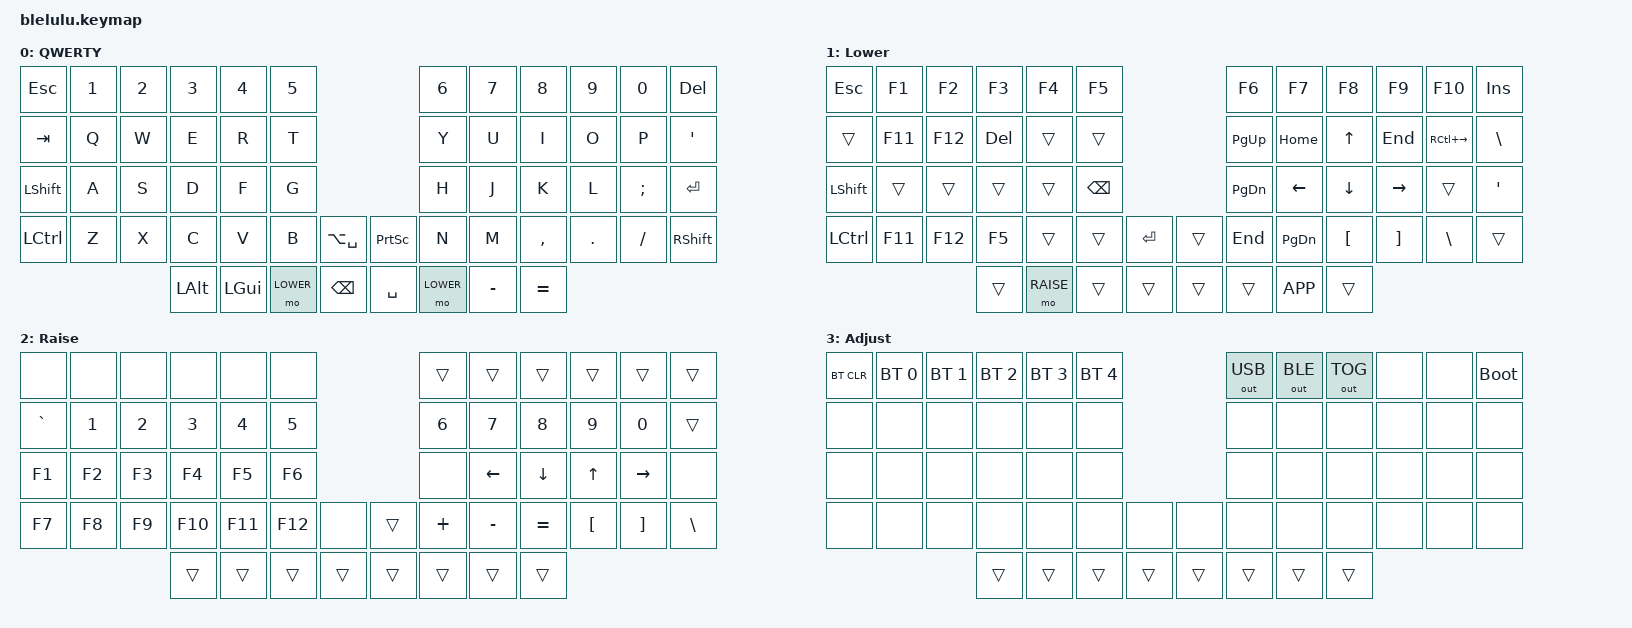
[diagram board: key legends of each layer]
/*
 * ZMK keymap for the Boardsource Wireless Lily58 SMT ("blelulu").
 * Converted from the QMK keymap.c (QWERTY / LOWER / RAISE / ADJUST).
 *
 * Replace config/blelulu.keymap in the firmware repo with this file.
 */

#include <behaviors.dtsi>
#include <dt-bindings/zmk/keys.h>
#include <dt-bindings/zmk/bt.h>
#include <dt-bindings/zmk/outputs.h>

/* Layer numbers. Order here must match the order of the layer nodes below. */
#define BASE   0
#define LOWER  1
#define RAISE  2
#define ADJUST 3

/ {
    /* QMK update_tri_layer_state(LOWER, RAISE, ADJUST) */
    conditional_layers {
        compatible = "zmk,conditional-layers";
        tri_layer {
            if-layers = <LOWER RAISE>;
            then-layer = <ADJUST>;
        };
    };


    keymap {
        compatible = "zmk,keymap";

/* QWERTY
 * ,-----------------------------------------.                    ,-----------------------------------------.
 * | ESC  |   1  |   2  |   3  |   4  |   5  |                    |   6  |   7  |   8  |   9  |   0  |  DEL |
 * |------+------+------+------+------+------|                    |------+------+------+------+------+------|
 * | Tab  |   Q  |   W  |   E  |   R  |   T  |                    |   Y  |   U  |   I  |   O  |   P  |  "   |
 * |------+------+------+------+------+------|                    |------+------+------+------+------+------|
 * |LShift|   A  |   S  |   D  |   F  |   G  |-------.    ,-------|   H  |   J  |   K  |   L  |   ;  |Enter |
 * |------+------+------+------+------+------|Launchy|    | prnsc |------+------+------+------+------+------|
 * |LCtrl |   Z  |   X  |   C  |   V  |   B  |-------|    |-------|   N  |   M  |   ,  |   .  |   /  | RSFT |
 * `-----------------------------------------/       /     \      \-----------------------------------------'
 *                   | LAlt | Win  |Lower | /  BkSpc  /       \Space \  |Lower | -_   | +=   |
 *                   `----------------------------'           '------''--------------------'
 */
        base_layer {
            display-name = "QWERTY";
            bindings = <
&kp ESC   &kp N1 &kp N2 &kp N3   &kp N4   &kp N5                              &kp N6 &kp N7    &kp N8    &kp N9  &kp N0    &kp DEL
&kp TAB   &kp Q  &kp W  &kp E    &kp R    &kp T                               &kp Y  &kp U     &kp I     &kp O   &kp P     &kp SQT
&kp LSHFT &kp A  &kp S  &kp D    &kp F    &kp G                               &kp H  &kp J     &kp K     &kp L   &kp SEMI  &kp RET
&kp LCTRL &kp Z  &kp X  &kp C    &kp V    &kp B     &kp LA(SPACE)  &kp PSCRN  &kp N  &kp M     &kp COMMA &kp DOT &kp FSLH  &kp RSHFT
                        &kp LALT &kp LGUI &mo LOWER &kp BSPC       &kp SPACE  &mo LOWER &kp MINUS &kp EQUAL
            >;
        };

/* LOWER
 * ,-----------------------------------------.                    ,-----------------------------------------.
 * | ESC  |  F1  |  F2  |  F3  |  F4  |  F5  |                    |  F6  |  F7  |  F8  |  F9  | F10  | Ins  |
 * |------+------+------+------+------+------|                    |------+------+------+------+------+------|
 * |      | F11  | F12  | DEL  |      |      |                    | PgUp | Home |  Up  | End  |Ctl+Rt|  \   |
 * |------+------+------+------+------+------|                    |------+------+------+------+------+------|
 * |LShift|      |      |      |      | BkSp |-------.    ,-------| PgDn | Left | Down |Right |      |  '   |
 * |------+------+------+------+------+------| Enter |    |       |------+------+------+------+------+------|
 * |LCtrl | F11  | F12  |  F5  |      |      |-------|    |-------| End  | PgDn |  [   |  ]   |  \   |      |
 * `-----------------------------------------/       /     \      \-----------------------------------------'
 *                   |      |Raise |      | /       /       \      \  |      | Menu |      |
 *                   `----------------------------'           '------''--------------------'
 */
        lower_layer {
            display-name = "Lower";
            bindings = <
&kp ESC   &kp F1       &kp F2  &kp F3  &kp F4 &kp F5                        &kp F6    &kp F7    &kp F8   &kp F9    &kp F10       &kp INS
&trans    &kp F11      &kp F12 &kp DEL &trans &trans                        &kp PG_UP &kp HOME  &kp UP   &kp END   &kp RC(RIGHT) &kp BSLH
&kp LSHFT &trans       &trans  &trans  &trans &kp BSPC                      &kp PG_DN &kp LEFT  &kp DOWN &kp RIGHT &trans        &kp SQT
&kp LCTRL &kp F11      &kp F12 &kp F5  &trans &trans    &kp RET   &trans    &kp END   &kp PG_DN &kp LBKT &kp RBKT  &kp BSLH      &trans
                               &trans  &mo RAISE        &trans    &trans    &trans    &trans    &kp K_APP &trans
            >;
        };

/* RAISE
 * ,-----------------------------------------.                    ,-----------------------------------------.
 * |      |      |      |      |      |      |                    |      |      |      |      |      |      |
 * |------+------+------+------+------+------|                    |------+------+------+------+------+------|
 * |   `  |   1  |   2  |   3  |   4  |   5  |                    |   6  |   7  |   8  |   9  |   0  |      |
 * |------+------+------+------+------+------|                    |------+------+------+------+------+------|
 * |  F1  |  F2  |  F3  |  F4  |  F5  |  F6  |-------.    ,-------|      | Left | Down |  Up  |Right |      |
 * |------+------+------+------+------+------|       |    |       |------+------+------+------+------+------|
 * |  F7  |  F8  |  F9  | F10  | F11  | F12  |-------|    |-------|   +  |   -  |   =  |   [  |   ]  |   \  |
 * `-----------------------------------------/       /     \      \-----------------------------------------'
 *                   |      |      |      | /       /       \      \  |      |      |      |
 *                   `----------------------------'           '------''--------------------'
 * The QMK RGB_* keys on this layer have no equivalent on this board (no RGB), so they are &none.
 */
        raise_layer {
            display-name = "Raise";
            bindings = <
&none     &none  &none  &none   &none   &none                        &trans   &trans    &trans    &trans   &trans    &trans
&kp GRAVE &kp N1 &kp N2 &kp N3  &kp N4  &kp N5                       &kp N6   &kp N7    &kp N8    &kp N9   &kp N0    &trans
&kp F1    &kp F2 &kp F3 &kp F4  &kp F5  &kp F6                       &none    &kp LEFT  &kp DOWN  &kp UP   &kp RIGHT &none
&kp F7    &kp F8 &kp F9 &kp F10 &kp F11 &kp F12   &none    &trans    &kp PLUS &kp MINUS &kp EQUAL &kp LBKT &kp RBKT  &kp BSLH
                        &trans  &trans  &trans    &trans   &trans    &trans   &trans    &trans
            >;
        };

/* ADJUST (LOWER + RAISE held together)
 * The QMK layer only had RGB keys. This board is wireless and has no RGB, so the
 * top row carries the Bluetooth controls you need instead:
 * ,-----------------------------------------.                    ,-----------------------------------------.
 * |BT CLR| BT 0 | BT 1 | BT 2 | BT 3 | BT 4 |                    | USB  | BLE  |OutTog|      |      | Boot |
 * |------+------+------+------+------+------|                    |------+------+------+------+------+------|
 * (all other keys do nothing)
 * BT CLR forgets the pairing of the currently selected profile. BT 0-4 pick a profile.
 * USB / BLE / OutTog choose where keystrokes go. Boot puts the left half in flashing mode.
 */
        adjust_layer {
            display-name = "Adjust";
            bindings = <
&bt BT_CLR &bt BT_SEL 0 &bt BT_SEL 1 &bt BT_SEL 2 &bt BT_SEL 3 &bt BT_SEL 4                  &out OUT_USB &out OUT_BLE &out OUT_TOG &none &none &bootloader
&none      &none        &none        &none        &none        &none                         &none        &none        &none        &none &none &none
&none      &none        &none        &none        &none        &none                         &none        &none        &none        &none &none &none
&none      &none        &none        &none        &none        &none        &none   &none    &none        &none        &none        &none &none &none
                                                  &trans       &trans       &trans  &trans   &trans       &trans       &trans       &trans
            >;
        };
    };
};
